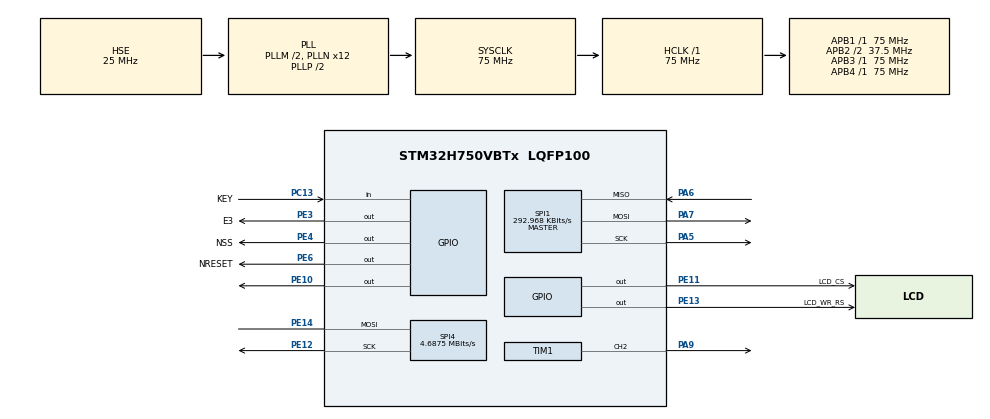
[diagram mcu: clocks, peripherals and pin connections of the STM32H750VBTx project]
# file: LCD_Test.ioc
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Mcu.Family=STM32H7
Mcu.Name=STM32H750VBTx
Mcu.Package=LQFP100
NVIC.PriorityGroup=NVIC_PRIORITYGROUP_4
PA13\ (JTMS/SWDIO).Mode=Serial_Wire
PA13\ (JTMS/SWDIO).Signal=DEBUG_JTMS-SWDIO
PA14\ (JTCK/SWCLK).Mode=Serial_Wire
PA14\ (JTCK/SWCLK).Signal=DEBUG_JTCK-SWCLK
PA5.GPIO_PuPd=GPIO_NOPULL
PA5.Mode=Full_Duplex_Master
PA5.Signal=SPI1_SCK
PA6.Mode=Full_Duplex_Master
PA6.Signal=SPI1_MISO
PA7.Mode=Full_Duplex_Master
PA7.Signal=SPI1_MOSI
PA9.Signal=S_TIM1_CH2
PC13.GPIO_Label=KEY
PC13.GPIO_PuPd=GPIO_PULLDOWN
PC13.Signal=GPIO_Input
PC14-OSC32_IN\ (OSC32_IN).Mode=LSE-External-Oscillator
PC14-OSC32_IN\ (OSC32_IN).Signal=RCC_OSC32_IN
PC15-OSC32_OUT\ (OSC32_OUT).Mode=LSE-External-Oscillator
PC15-OSC32_OUT\ (OSC32_OUT).Signal=RCC_OSC32_OUT
PE10.Signal=GPIO_Output
PE11.GPIO_Label=LCD_CS
PE11.GPIO_Speed=GPIO_SPEED_FREQ_VERY_HIGH
PE11.PinState=GPIO_PIN_SET
PE11.Signal=GPIO_Output
PE12.GPIO_Speed=GPIO_SPEED_FREQ_HIGH
PE12.Mode=Simplex_Bidirectional_Master
PE12.Signal=SPI4_SCK
PE13.GPIO_Label=LCD_WR_RS
PE13.GPIO_Speed=GPIO_SPEED_FREQ_VERY_HIGH
PE13.PinState=GPIO_PIN_SET
PE13.Signal=GPIO_Output
PE14.GPIO_Speed=GPIO_SPEED_FREQ_HIGH
PE14.Mode=Simplex_Bidirectional_Master
PE14.Signal=SPI4_MOSI
PE3.GPIO_Label=E3
PE3.PinState=GPIO_PIN_RESET
PE3.Signal=GPIO_Output
PE4.GPIO_Label=NSS
PE4.GPIO_ModeDefaultOutputPP=GPIO_MODE_OUTPUT_OD
PE4.GPIO_PuPd=GPIO_PULLUP
PE4.PinState=GPIO_PIN_RESET
PE4.Signal=GPIO_Output
PE6.GPIO_Label=NRESET
PE6.GPIO_ModeDefaultOutputPP=GPIO_MODE_OUTPUT_OD
PE6.GPIO_PuPd=GPIO_NOPULL
PE6.Signal=GPIO_Output
PH0-OSC_IN\ (PH0).Mode=HSE-External-Oscillator
PH0-OSC_IN\ (PH0).Signal=RCC_OSC_IN
PH1-OSC_OUT\ (PH1).Mode=HSE-External-Oscillator
PH1-OSC_OUT\ (PH1).Signal=RCC_OSC_OUT
ProjectManager.HeapSize=0x200
ProjectManager.StackSize=0x400
ProjectManager.TargetToolchain=STM32CubeIDE
RCC.ADCFreq_Value=83333333.33333333
RCC.APB1Freq_Value=75000000
RCC.APB2Freq_Value=37500000
RCC.APB3Freq_Value=75000000
RCC.APB4Freq_Value=75000000
RCC.CortexFreq_Value=75000000
RCC.D2PPRE2=RCC_APB2_DIV2
RCC.DIVM1=2
RCC.DIVM2=6
RCC.DIVN1=12
RCC.DIVN2=40
RCC.DIVQ2=1
RCC.HCLKFreq_Value=75000000
RCC.HSE_VALUE=25000000
RCC.PLLFRACN=0
RCC.PLLSourceVirtual=RCC_PLLSOURCE_HSE
RCC.RTCClockSelection=RCC_RTCCLKSOURCE_LSE
RCC.SYSCLKFreq_VALUE=75000000
RCC.SYSCLKSource=RCC_SYSCLKSOURCE_PLLCLK
RCC.USBFreq_Value=75000000
RTC.Hours=12
RTC.Month=RTC_MONTH_JUNE
RTC.Year=20
SH.S_TIM1_CH2.0=TIM1_CH2,PWM Generation2 CH2
SPI1.BaudRatePrescaler=SPI_BAUDRATEPRESCALER_256
SPI1.CalculateBaudRate=292.968 KBits/s
SPI1.DataSize=SPI_DATASIZE_8BIT
SPI1.Direction=SPI_DIRECTION_2LINES
SPI1.Mode=SPI_MODE_MASTER
SPI1.VirtualType=VM_MASTER
SPI4.BaudRatePrescaler=SPI_BAUDRATEPRESCALER_8
SPI4.CalculateBaudRate=4.6875 MBits/s
SPI4.DataSize=SPI_DATASIZE_8BIT
SPI4.Direction=SPI_DIRECTION_1LINE
SPI4.Mode=SPI_MODE_MASTER
SPI4.VirtualType=VM_MASTER
TIM1.Channel-PWM\ Generation2\ CH2=TIM_CHANNEL_2
TIM1.Period=1000-1
TIM1.Prescaler=12-1
VP_RTC_VS_RTC_Activate.Mode=RTC_Enabled
VP_RTC_VS_RTC_Calendar.Mode=RTC_Calendar
board=custom

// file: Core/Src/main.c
/* USER CODE BEGIN Header */
/**
  ******************************************************************************
  * @file           : main.c
  * @brief          : Main program body
  ******************************************************************************
  * @attention
  *
  * Copyright (c) 2023 STMicroelectronics.
  * All rights reserved.
  *
  * This software is licensed under terms that can be found in the LICENSE file
  * in the root directory of this software component.
  * If no LICENSE file comes with this software, it is provided AS-IS.
  *
  ******************************************************************************
  */
/* USER CODE END Header */
#include "main.h"
#include "rtc.h"
#include "spi.h"
#include "tim.h"
#include "gpio.h"

/* USER CODE BEGIN Includes */
#include "lcd.h"
/* USER CODE END Includes */

void SystemClock_Config(void);

/* USER CODE BEGIN 0 */

static void LED_Blink(uint32_t Hdelay,uint32_t Ldelay)
{
	HAL_GPIO_WritePin(E3_GPIO_Port,E3_Pin,GPIO_PIN_SET);
	HAL_Delay(Hdelay - 1);
	HAL_GPIO_WritePin(E3_GPIO_Port,E3_Pin,GPIO_PIN_RESET);
	HAL_Delay(Ldelay-1);
}

static void RTC_CalendarShow(RTC_DateTypeDef *sdatestructureget,RTC_TimeTypeDef *stimestructureget)
{
  /* ±�?ÐëÍ¬Ê±»ñÈ¡Ê±¼äºÍÈÕÆÚ ²»È»»áµ¼ÖÂÏÂ´ÎRTC²»ÄÜ¶ÁÈ¡ */
  /* Both time and date must be obtained or RTC cannot be read next time */
  /* Get the RTC current Time */
  HAL_RTC_GetTime(&hrtc, stimestructureget, RTC_FORMAT_BIN);
  /* Get the RTC current Date */
  HAL_RTC_GetDate(&hrtc, sdatestructureget, RTC_FORMAT_BIN);
}

uint8_t radio_spi(SPI_HandleTypeDef *hspi, const uint8_t *pData, uint16_t Size, uint32_t Timeout)
{
	uint8_t rxData[Size];
	rxData[0] = 0;
	HAL_SPI_TransmitReceive(hspi, pData, (uint8_t*)&rxData, Size, Timeout);
	return rxData[0];
}

void radio_powerup()
{
	// Pull down NREST for 100ms and got to HIGH IMPEDENCE state to reset the radio
	HAL_GPIO_WritePin(GPIOE, NRESET_Pin, GPIO_PIN_SET);
	HAL_GPIO_WritePin(GPIOE, NRESET_Pin, GPIO_PIN_RESET);
	HAL_Delay(100);
	HAL_GPIO_WritePin(GPIOE, NRESET_Pin, GPIO_PIN_SET);

	HAL_Delay(100);
	HAL_GPIO_WritePin(GPIOE, NSS_Pin, GPIO_PIN_SET);
	uint8_t data[2] = {0x8a, 0x00}; // SetPacketType(GFSK)
	HAL_GPIO_WritePin(GPIOE, NSS_Pin, GPIO_PIN_RESET);
	uint8_t status = radio_spi(&hspi1, (uint8_t*)&data, 2, 100);
	HAL_GPIO_WritePin(GPIOE, NSS_Pin, GPIO_PIN_SET);
}

void radio_cs(uint8_t cs) {
	HAL_GPIO_WritePin(GPIOE, NSS_Pin, cs ? GPIO_PIN_RESET : GPIO_PIN_SET );
}

void radio_setup() {
	uint8_t text[20];
	HAL_Delay(1000);
	HAL_GPIO_WritePin(GPIOE, NSS_Pin, GPIO_PIN_SET);
	// Set packet type to GFSK
	uint8_t data[2] = {0x8a, 00}; // SetPacketType(GFSK)
	HAL_GPIO_WritePin(GPIOE, NSS_Pin, GPIO_PIN_RESET);
	uint8_t status = radio_spi(&hspi1, (uint8_t*)&data, 2, 1000);
	HAL_GPIO_WritePin(GPIOE, NSS_Pin, GPIO_PIN_SET);

	//sprintf((char*)&text, "Hi!");
	LCD_Clear(BLACK);
	sprintf((char *)&text, "%x", status);
	LCD_ShowString(4, 4, ST7735Ctx.Width, 16, 16, text);

	return;

	//LCD_ShowString(4, 4, ST7735Ctx.Width, 16, 3, (char*)&text);
	HAL_Delay(1000);

	HAL_Delay(100);
	// Set 2.4 Ghz centre frequency
	uint32_t rfFrequency = 12098954;
	HAL_GPIO_WritePin(GPIOE, NSS_Pin, GPIO_PIN_RESET);
	HAL_SPI_Transmit(&hspi1, (uint8_t*)&rfFrequency, 3, 100);
	HAL_GPIO_WritePin(GPIOE, NSS_Pin, GPIO_PIN_SET);

	HAL_Delay(100);
	// Set buffer base address
	uint8_t data2[3] = {0x8f, 00, 00};
	HAL_GPIO_WritePin(GPIOE, NSS_Pin, GPIO_PIN_RESET);
	HAL_SPI_Transmit(&hspi1, (uint8_t*)&data2, 3, 100);
	HAL_GPIO_WritePin(GPIOE, NSS_Pin, GPIO_PIN_SET);

	HAL_Delay(100);
	// Set modulation parameters
	uint8_t data3[4] = {0x8B, 0x04, 0x00, 00};
	HAL_GPIO_WritePin(GPIOE, NSS_Pin, GPIO_PIN_RESET);
	HAL_SPI_Transmit(&hspi1, (uint8_t*)&data3, 4, 100);
	HAL_GPIO_WritePin(GPIOE, NSS_Pin, GPIO_PIN_SET);

	HAL_Delay(100);
	// Set packet type to GFSK
	uint8_t data4[2] = {0x8A, 0x00};
	HAL_GPIO_WritePin(GPIOE, NSS_Pin, GPIO_PIN_RESET);
	HAL_SPI_Transmit(&hspi1, (uint8_t*)&data4, 2, 100);
	HAL_GPIO_WritePin(GPIOE, NSS_Pin, GPIO_PIN_SET);

	HAL_Delay(100);
	// Set packet parameters
	uint8_t data5[8] = {0x8C, 0x5, 0x00, 0x00, 0x00, 0x06, 0x00, 0x08};
	HAL_GPIO_WritePin(GPIOE, NSS_Pin, GPIO_PIN_RESET);
	HAL_SPI_Transmit(&hspi1, (uint8_t*)&data5, 8, 100);
	HAL_GPIO_WritePin(GPIOE, NSS_Pin, GPIO_PIN_SET);

}

void radio_tx(uint8_t* buffer) {
	HAL_Delay(100);
	// Set buffer base address
	uint8_t data[3] = {0x8f, 00, 00};
	HAL_GPIO_WritePin(GPIOE, NSS_Pin, GPIO_PIN_RESET);
	HAL_SPI_Transmit(&hspi1, (uint8_t*)&data, 3, 100);
	HAL_GPIO_WritePin(GPIOE, NSS_Pin, GPIO_PIN_SET);

	HAL_Delay(100);
	// SetTxParams(power = -12 dBm, ramp_time = 2 us)
	uint8_t data2[3] = {0x8E, 0x5, 0x00};
	HAL_GPIO_WritePin(GPIOE, NSS_Pin, GPIO_PIN_RESET);
	HAL_SPI_Transmit(&hspi1, (uint8_t*)&data2, 3, 100);
	HAL_GPIO_WritePin(GPIOE, NSS_Pin, GPIO_PIN_SET);

	HAL_Delay(100);
	// Copy data to buffer with OP code prefix
	uint8_t data3[8];
	data3[0] = 0x1A; // WriteBuffer OP code prefix
	data3[1] = 0x00;
	data3[2] = buffer[0];
	data3[3] = buffer[1];
	data3[4] = buffer[2];
	data3[5] = buffer[3];
	data3[6] = buffer[4];
	data3[7] = buffer[5];
	//for (int i = 2; i < 8; ++i) {
	//	data[i] = buffer[i-2];
	//}

	HAL_Delay(100);
	// WriteBuffer
	HAL_GPIO_WritePin(GPIOE, NSS_Pin, GPIO_PIN_RESET);
	HAL_SPI_Transmit(&hspi1, (uint8_t*)&data3, 8, 100);
	HAL_GPIO_WritePin(GPIOE, NSS_Pin, GPIO_PIN_SET);

	HAL_Delay(100);
	// SetTx(periodBase = 0 ms, timeout_duration = 0)
	uint8_t data4[3] = {0x83, 0x00, 0x00};
	HAL_GPIO_WritePin(GPIOE, NSS_Pin, GPIO_PIN_RESET);
	HAL_SPI_Transmit(&hspi1, (uint8_t*)&data4, 3, 100);
	HAL_GPIO_WritePin(GPIOE, NSS_Pin, GPIO_PIN_SET);
}

/* USER CODE END 0 */

int main(void)
{
  uint8_t data[6] = {1, 2, 3, 5, 8, 13};

  /* MCU Configuration--------------------------------------------------------*/

  /* Reset of all peripherals, Initializes the Flash interface and the Systick. */
  HAL_Init();

  /* Configure the system clock */
  SystemClock_Config();

  /* Initialize all configured peripherals */
  MX_GPIO_Init();
  MX_RTC_Init();
  MX_SPI4_Init();
  MX_TIM1_Init();
  MX_SPI1_Init();
  /* USER CODE BEGIN 2 */
  HAL_GPIO_WritePin(E3_GPIO_Port,GPIO_PIN_10,GPIO_PIN_RESET);
  //LCD_Test();
  LCD_Init();

  /* USER CODE END 2 */

  /* Infinite loop */
  /* USER CODE BEGIN WHILE */
  	uint8_t text[20];
  	RTC_DateTypeDef sdatestructureget;
  	RTC_TimeTypeDef stimestructureget;

  	// Initialize radio
  	HAL_GPIO_WritePin(E3_GPIO_Port,GPIO_PIN_10,GPIO_PIN_RESET);
  	radio_powerup();
  	radio_setup();

    //sprintf((char *)&text, "To seek is to find me...");
    //LCD_ShowString(4, 4, ST7735Ctx.Width, 16, 16, text);
  	while (1)
  	{

  		radio_setup();
  	}
    while (1)
    {
    /* USER CODE END WHILE */

    /* USER CODE BEGIN 3 */
    	HAL_GPIO_WritePin(E3_GPIO_Port,GPIO_PIN_10,GPIO_PIN_RESET);

  		RTC_CalendarShow(&sdatestructureget,&stimestructureget);

  		if (stimestructureget.Seconds % 2 == 1)
  			sprintf((char *)&text,"Time: %02d:%02d", stimestructureget.Hours, stimestructureget.Minutes);
  		else
  			sprintf((char *)&text,"Time: %02d %02d", stimestructureget.Hours, stimestructureget.Minutes);
  		//LCD_ShowString(x, y, width, height, size, p);

  		sprintf((char *)&text,"Tick: %d ms",HAL_GetTick());
  		LCD_ShowString(4, 74, 160, 16, 16,text);

  		LED_Blink(3,500);

  		HAL_Delay(100);
  		radio_tx((uint8_t*)&data);
    }
  /* USER CODE END 3 */
}

void SystemClock_Config(void)
{
  RCC_OscInitTypeDef RCC_OscInitStruct = {0};
  RCC_ClkInitTypeDef RCC_ClkInitStruct = {0};

  /** Supply configuration update enable
  */
  HAL_PWREx_ConfigSupply(PWR_LDO_SUPPLY);

  /** Configure the main internal regulator output voltage
  */
  __HAL_PWR_VOLTAGESCALING_CONFIG(PWR_REGULATOR_VOLTAGE_SCALE3);

  while(!__HAL_PWR_GET_FLAG(PWR_FLAG_VOSRDY)) {}

  /** Configure LSE Drive Capability
  */
  HAL_PWR_EnableBkUpAccess();
  __HAL_RCC_LSEDRIVE_CONFIG(RCC_LSEDRIVE_LOW);

  /** Initializes the RCC Oscillators according to the specified parameters
  * in the RCC_OscInitTypeDef structure.
  */
  RCC_OscInitStruct.OscillatorType = RCC_OSCILLATORTYPE_HSE|RCC_OSCILLATORTYPE_LSE;
  RCC_OscInitStruct.HSEState = RCC_HSE_ON;
  RCC_OscInitStruct.LSEState = RCC_LSE_ON;
  RCC_OscInitStruct.PLL.PLLState = RCC_PLL_ON;
  RCC_OscInitStruct.PLL.PLLSource = RCC_PLLSOURCE_HSE;
  RCC_OscInitStruct.PLL.PLLM = 2;
  RCC_OscInitStruct.PLL.PLLN = 12;
  RCC_OscInitStruct.PLL.PLLP = 2;
  RCC_OscInitStruct.PLL.PLLQ = 2;
  RCC_OscInitStruct.PLL.PLLR = 2;
  RCC_OscInitStruct.PLL.PLLRGE = RCC_PLL1VCIRANGE_3;
  RCC_OscInitStruct.PLL.PLLVCOSEL = RCC_PLL1VCOMEDIUM;
  RCC_OscInitStruct.PLL.PLLFRACN = 0;
  if (HAL_RCC_OscConfig(&RCC_OscInitStruct) != HAL_OK)
  {
    Error_Handler();
  }

  /** Initializes the CPU, AHB and APB buses clocks
  */
  RCC_ClkInitStruct.ClockType = RCC_CLOCKTYPE_HCLK|RCC_CLOCKTYPE_SYSCLK
                              |RCC_CLOCKTYPE_PCLK1|RCC_CLOCKTYPE_PCLK2
                              |RCC_CLOCKTYPE_D3PCLK1|RCC_CLOCKTYPE_D1PCLK1;
  RCC_ClkInitStruct.SYSCLKSource = RCC_SYSCLKSOURCE_PLLCLK;
  RCC_ClkInitStruct.SYSCLKDivider = RCC_SYSCLK_DIV1;
  RCC_ClkInitStruct.AHBCLKDivider = RCC_HCLK_DIV1;
  RCC_ClkInitStruct.APB3CLKDivider = RCC_APB3_DIV1;
  RCC_ClkInitStruct.APB1CLKDivider = RCC_APB1_DIV1;
  RCC_ClkInitStruct.APB2CLKDivider = RCC_APB2_DIV2;
  RCC_ClkInitStruct.APB4CLKDivider = RCC_APB4_DIV1;

  if (HAL_RCC_ClockConfig(&RCC_ClkInitStruct, FLASH_LATENCY_1) != HAL_OK)
  {
    Error_Handler();
  }
}

void Error_Handler(void)
{
  __disable_irq();
  while (1)
  {
  }
}
